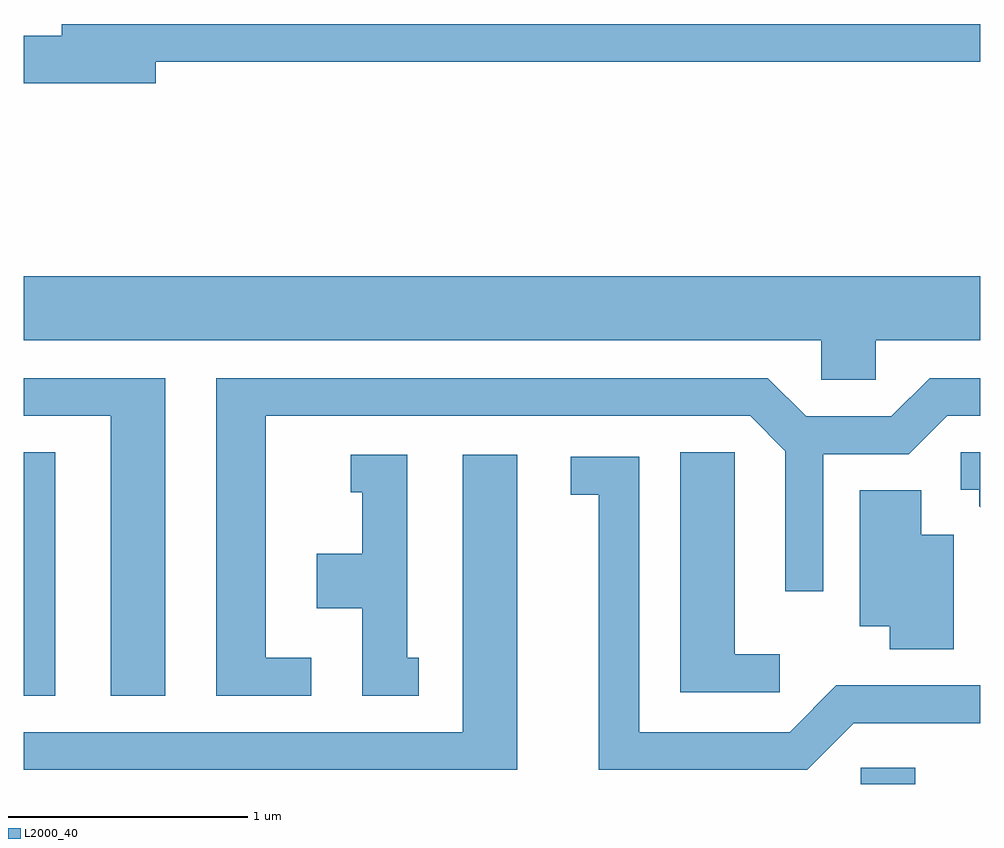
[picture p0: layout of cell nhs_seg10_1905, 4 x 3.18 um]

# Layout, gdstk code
import gdstk
lib = gdstk.Library(unit=1e-6, precision=1e-09)
def R(c, l, rs):  # rectangles x0, y0, x1, y1
    for r in rs: c.add(gdstk.rectangle(r[:2], r[2:], *l))
def P(c, l, *ps):  # polygons
    for p in ps: c.add(gdstk.Polygon(p, *l))
L2000_40 = (2000, 40)

nhs_seg10_1905 = lib.new_cell('nhs_seg10_1905')
R(nhs_seg10_1905, L2000_40, [(245.111,2096.522,245.339,2096.589), (241.611,2096.891,241.744,2097.909)])
P(nhs_seg10_1905, L2000_40, [(242.164,2099.541),(245.611,2099.541),(245.611,2099.699),(241.771,2099.699),(241.771,2099.649),(241.611,2099.649),(241.611,2099.451),(242.164,2099.451)],
  [(245.174,2098.376),(245.611,2098.376),(245.611,2098.644),(241.611,2098.644),(241.611,2098.376),(244.946,2098.376),(244.946,2098.211),(245.174,2098.211)],
  [(242.813,2097.049),(242.624,2097.049),(242.624,2098.061),(244.649,2098.061),(244.796,2097.914),(244.796,2097.328),(244.954,2097.328),(244.954,2097.901),(245.312,2097.901),(245.472,2098.061),(245.611,2098.061),(245.611,2098.219),(245.399,2098.219),(245.239,2098.059),(244.882,2098.059),(244.722,2098.219),(242.416,2098.219),(242.416,2096.891),(242.813,2096.891)],
  [(242.204,2098.219),(241.611,2098.219),(241.611,2098.061),(241.976,2098.061),(241.976,2096.891),(242.204,2096.891)],
  [(244.773,2097.064),(244.584,2097.064),(244.584,2097.909),(244.356,2097.909),(244.356,2096.906),(244.773,2096.906)],
  [(245.611,2097.909),(245.528,2097.909),(245.528,2097.751),(245.606,2097.751),(245.606,2097.684),(245.611,2097.679)],
  [(243.263,2097.049),(243.214,2097.049),(243.214,2097.899),(242.978,2097.899),(242.978,2097.741),(243.026,2097.741),(243.026,2097.484),(242.836,2097.484),(242.836,2097.256),(243.026,2097.256),(243.026,2096.891),(243.263,2096.891)],
  [(243.674,2097.899),(243.446,2097.899),(243.446,2096.739),(241.611,2096.739),(241.611,2096.581),(243.674,2096.581)],
  [(245.082,2096.776),(245.611,2096.776),(245.611,2096.934),(245.009,2096.934),(244.814,2096.739),(244.184,2096.739),(244.184,2097.889),(243.898,2097.889),(243.898,2097.731),(244.016,2097.731),(244.016,2096.581),(244.887,2096.581)],
  [(245.499,2097.564),(245.364,2097.564),(245.364,2097.749),(245.106,2097.749),(245.106,2097.181),(245.231,2097.181),(245.231,2097.086),(245.499,2097.086)])

lib.write_gds('nhs_seg10_1905.gds')
